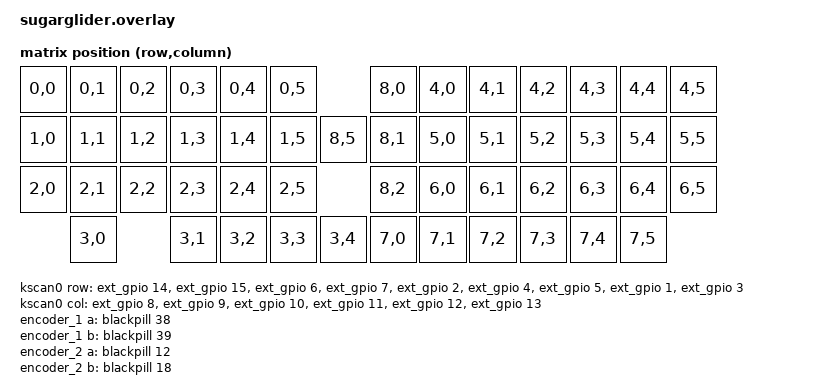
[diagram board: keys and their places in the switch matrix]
/*
 * Copyright (c) 2022 The ZMK Contributors
 *
 * SPDX-License-Identifier: MIT
 */

#include <dt-bindings/zmk/matrix_transform.h>

/ {
    chosen {
        zephyr,display = &oled;
        zmk,kscan = &kscan0;
        zmk,matrix_transform = &default_transform;
    };

    kscan0: kscan {
        compatible = "zmk,kscan-gpio-matrix";
        label = "KSCAN";

        diode-direction = "row2col";
        debounce-scan-period-ms = <10>;
        row-gpios
            = <&ext_gpio 14 (GPIO_ACTIVE_LOW)>
            , <&ext_gpio 15 (GPIO_ACTIVE_LOW)>
            , <&ext_gpio 6  (GPIO_ACTIVE_LOW)>
            , <&ext_gpio 7  (GPIO_ACTIVE_LOW)>
            , <&ext_gpio 2  (GPIO_ACTIVE_LOW)>
            , <&ext_gpio 4  (GPIO_ACTIVE_LOW)>
            , <&ext_gpio 5  (GPIO_ACTIVE_LOW)>
            , <&ext_gpio 1  (GPIO_ACTIVE_LOW)>
            , <&ext_gpio 3  (GPIO_ACTIVE_LOW)>
            ;
        col-gpios
            = <&ext_gpio 8  (GPIO_ACTIVE_LOW | GPIO_PULL_UP)>
            , <&ext_gpio 9  (GPIO_ACTIVE_LOW | GPIO_PULL_UP)>
            , <&ext_gpio 10 (GPIO_ACTIVE_LOW | GPIO_PULL_UP)>
            , <&ext_gpio 11 (GPIO_ACTIVE_LOW | GPIO_PULL_UP)>
            , <&ext_gpio 12 (GPIO_ACTIVE_LOW | GPIO_PULL_UP)>
            , <&ext_gpio 13 (GPIO_ACTIVE_LOW | GPIO_PULL_UP)>
            ;
    };

    default_transform: keymap_transform_0 {
        compatible = "zmk,matrix-transform";
        columns = <6>;
        rows = <9>;
        map = <
            RC(0,0) RC(0,1) RC(0,2) RC(0,3) RC(0,4) RC(0,5)                 RC(8,0) RC(4,0) RC(4,1) RC(4,2) RC(4,3) RC(4,4) RC(4,5)
            RC(1,0) RC(1,1) RC(1,2) RC(1,3) RC(1,4) RC(1,5)         RC(8,5) RC(8,1) RC(5,0) RC(5,1) RC(5,2) RC(5,3) RC(5,4) RC(5,5)
            RC(2,0) RC(2,1) RC(2,2) RC(2,3) RC(2,4) RC(2,5)                 RC(8,2) RC(6,0) RC(6,1) RC(6,2) RC(6,3) RC(6,4) RC(6,5)
                    RC(3,0)         RC(3,1) RC(3,2) RC(3,3) RC(3,4) RC(7,0) RC(7,1) RC(7,2) RC(7,3) RC(7,4)         RC(7,5) 
        >;
    };

    encoder_1: encoder_1 {
        compatible = "alps,ec11";
        label = "Encoder 1";
        a-gpios = <&blackpill 38 (GPIO_ACTIVE_LOW | GPIO_PULL_UP)>;
        b-gpios = <&blackpill 39 (GPIO_ACTIVE_LOW | GPIO_PULL_UP)>;
        resolution = <4>;
        status = "disabled";
    };
    
    encoder_2: encoder_2 {
        compatible = "alps,ec11";
        label = "Encoder 2";
        a-gpios = <&blackpill 12 (GPIO_ACTIVE_LOW | GPIO_PULL_UP)>;
        b-gpios = <&blackpill 18 (GPIO_ACTIVE_LOW | GPIO_PULL_UP)>;
        resolution = <4>;
        status = "disabled";
    };

    encoder_3: encoder_3 {
		compatible = "alps,ec11";
		label = "Encoder 3";
		a-gpios = <&blackpill 45 (GPIO_ACTIVE_LOW | GPIO_PULL_UP)>;
		b-gpios = <&blackpill 46 (GPIO_ACTIVE_LOW | GPIO_PULL_UP)>;
		resolution = <4>;
		status = "disabled";
	};


	encoder_4: encoder_4 {
		compatible = "alps,ec11";
		label = "Encoder 4";
		a-gpios = <&blackpill 4 (GPIO_ACTIVE_LOW | GPIO_PULL_UP)>;
		b-gpios = <&blackpill 3 (GPIO_ACTIVE_LOW | GPIO_PULL_UP)>;
		resolution = <2>;
		status = "disabled";
	};
};

&spi1 {
  cs-gpios = <&gpio0 3 GPIO_ACTIVE_HIGH>;
};

&i2c0 {
	status = "okay";
	clock-frequency = <I2C_BITRATE_FAST>;

	ext_gpio: mcp230xx@20 {
		compatible = "microchip,mcp230xx";
		status = "okay";
		gpio-controller;
		reg = <0x20>;
		label = "EXT_GPIO";
		#gpio-cells = <2>;
		ngpios = <16>;
	};
    
	oled: ssd1306@3c {
		compatible = "solomon,ssd1306fb";
        status = "okay";
		reg = <0x3c>;
		label = "DISPLAY";
		width = <128>;
		height = <64>;
		segment-offset = <0>;
		page-offset = <0>;
		display-offset = <0>;
		multiplex-ratio = <63>;
		prechargep = <0x22>;
	};
};
